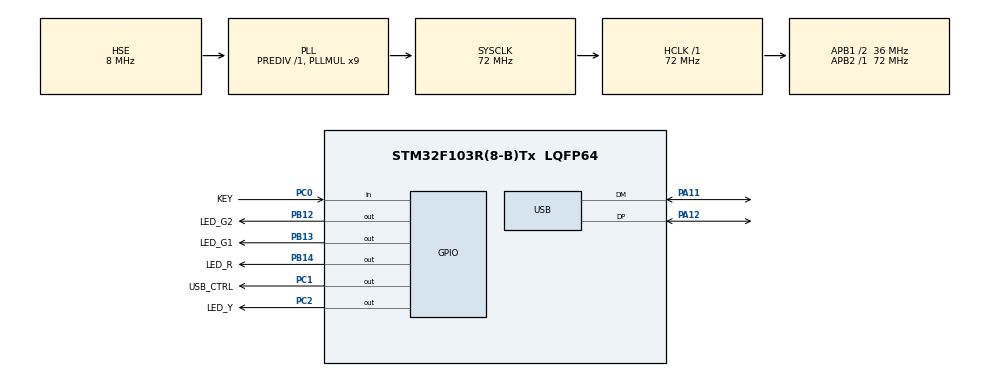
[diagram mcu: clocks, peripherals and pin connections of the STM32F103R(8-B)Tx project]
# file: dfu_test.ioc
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Mcu.Family=STM32F1
Mcu.Name=STM32F103R(8-B)Tx
Mcu.Package=LQFP64
NVIC.PriorityGroup=NVIC_PRIORITYGROUP_4
NVIC.USB_HP_CAN1_TX_IRQn=true\:0\:0\:false\:false\:true\:true\:true
NVIC.USB_LP_CAN1_RX0_IRQn=true\:0\:0\:false\:false\:true\:false\:true
PA11.Mode=Device
PA11.Signal=USB_DM
PA12.Mode=Device
PA12.Signal=USB_DP
PA13.Mode=Serial_Wire
PA13.Signal=SYS_JTMS-SWDIO
PA14.Mode=Serial_Wire
PA14.Signal=SYS_JTCK-SWCLK
PB12.GPIO_Label=LED_G2
PB12.GPIO_Speed=GPIO_SPEED_FREQ_HIGH
PB12.PinState=GPIO_PIN_SET
PB12.Signal=GPIO_Output
PB13.GPIO_Label=LED_G1
PB13.GPIO_Speed=GPIO_SPEED_FREQ_HIGH
PB13.PinState=GPIO_PIN_SET
PB13.Signal=GPIO_Output
PB14.GPIO_Label=LED_R
PB14.GPIO_Speed=GPIO_SPEED_FREQ_HIGH
PB14.PinState=GPIO_PIN_SET
PB14.Signal=GPIO_Output
PC0.GPIO_Label=KEY
PC0.GPIO_PuPd=GPIO_PULLUP
PC0.Signal=GPIO_Input
PC1.GPIO_Label=USB_CTRL
PC1.GPIO_Speed=GPIO_SPEED_FREQ_HIGH
PC1.PinState=GPIO_PIN_SET
PC1.Signal=GPIO_Output
PC2.GPIO_Label=LED_Y
PC2.GPIO_Speed=GPIO_SPEED_FREQ_HIGH
PC2.PinState=GPIO_PIN_RESET
PC2.Signal=GPIO_Output
PD0-OSC_IN.Mode=HSE-External-Oscillator
PD0-OSC_IN.Signal=RCC_OSC_IN
PD1-OSC_OUT.Mode=HSE-External-Oscillator
PD1-OSC_OUT.Signal=RCC_OSC_OUT
ProjectManager.HeapSize=0x200
ProjectManager.StackSize=0x800
ProjectManager.TargetToolchain=STM32CubeIDE
RCC.AHBFreq_Value=72000000
RCC.APB1CLKDivider=RCC_HCLK_DIV2
RCC.APB1Freq_Value=36000000
RCC.APB1TimFreq_Value=72000000
RCC.APB2Freq_Value=72000000
RCC.APB2TimFreq_Value=72000000
RCC.HCLKFreq_Value=72000000
RCC.HSICalibrationValue=8
RCC.PLLMUL=RCC_PLL_MUL9
RCC.PLLSourceVirtual=RCC_PLLSOURCE_HSE
RCC.SYSCLKFreq_VALUE=72000000
RCC.SYSCLKSource=RCC_SYSCLKSOURCE_PLLCLK
RCC.USBFreq_Value=48000000
RCC.USBPrescaler=RCC_USBCLKSOURCE_PLL_DIV1_5
USB_DEVICE.CLASS_NAME_FS=DFU
USB_DEVICE.USBD_DFU_APP_DEFAULT_ADD=0x08008000
USB_DEVICE.VirtualMode=Dfu
USB_DEVICE.VirtualModeFS=Dfu_FS
VP_USB_DEVICE_VS_USB_DEVICE_DFU_FS.Mode=DFU_FS
board=custom

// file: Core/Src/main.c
/* USER CODE BEGIN Header */
/**
  ******************************************************************************
  * @file           : main.c
  * @brief          : Main program body
  ******************************************************************************
  * @attention
  *
  * <h2><center>&copy; Copyright (c) 2022 STMicroelectronics.
  * All rights reserved.</center></h2>
  *
  * This software component is licensed by ST under BSD 3-Clause license,
  * the "License"; You may not use this file except in compliance with the
  * License. You may obtain a copy of the License at:
  *                        opensource.org/licenses/BSD-3-Clause
  *
  ******************************************************************************
  */
/* USER CODE END Header */
#include "main.h"
#include "usb_device.h"

/* USER CODE BEGIN Includes */
#include "usbd_dfu_if.h"
/* USER CODE END Includes */

void SystemClock_Config(void);
static void MX_GPIO_Init(void);

/* USER CODE BEGIN 0 */

typedef void (*pFunction)(void);

pFunction JumpToApplication;
uint32_t JumpAddress;

/* USER CODE END 0 */

int main(void)
{

  /* MCU Configuration--------------------------------------------------------*/

  /* Reset of all peripherals, Initializes the Flash interface and the Systick. */
  HAL_Init();

  /* Configure the system clock */
  SystemClock_Config();

  /* USER CODE BEGIN SysInit */
#if 0
  /* USER CODE END SysInit */

  /* Initialize all configured peripherals */
  MX_GPIO_Init();
  MX_USB_DEVICE_Init();
  /* USER CODE BEGIN 2 */
#endif
  MX_GPIO_Init();

  HAL_Delay(10);

  if (HAL_GPIO_ReadPin(KEY_GPIO_Port, KEY_Pin) == GPIO_PIN_SET)
  {
    if (((*(__IO uint32_t *)USBD_DFU_APP_DEFAULT_ADD) & 0x2FFE0000) == 0x20000000)
    {
      JumpAddress = *(__IO uint32_t *)(USBD_DFU_APP_DEFAULT_ADD + 4);
      JumpToApplication = (pFunction)JumpAddress;
      __set_MSP(*(__IO uint32_t *)USBD_DFU_APP_DEFAULT_ADD);
      JumpToApplication();
    }
  }

  HAL_GPIO_WritePin(USB_CTRL_GPIO_Port, USB_CTRL_Pin, GPIO_PIN_RESET);
  HAL_Delay(100);
  MX_USB_DEVICE_Init();

  /* USER CODE END 2 */

  /* Infinite loop */
  /* USER CODE BEGIN WHILE */
  while (1)
  {
    if(GPIO_PIN_RESET == HAL_GPIO_ReadPin(KEY_GPIO_Port, KEY_Pin))
    {
        HAL_GPIO_WritePin(LED_G2_GPIO_Port, LED_G2_Pin, GPIO_PIN_RESET);
    }
    else
    {
        HAL_GPIO_WritePin(LED_G2_GPIO_Port, LED_G2_Pin, GPIO_PIN_SET);
    }

    HAL_GPIO_WritePin(LED_Y_GPIO_Port, LED_Y_Pin, GPIO_PIN_SET);
    HAL_Delay(500);
    HAL_GPIO_WritePin(LED_Y_GPIO_Port, LED_Y_Pin, GPIO_PIN_RESET);
    HAL_Delay(500);
    /* USER CODE END WHILE */

  }
}

void SystemClock_Config(void)
{
  RCC_OscInitTypeDef RCC_OscInitStruct = {0};
  RCC_ClkInitTypeDef RCC_ClkInitStruct = {0};
  RCC_PeriphCLKInitTypeDef PeriphClkInit = {0};

  /** Initializes the RCC Oscillators according to the specified parameters
  * in the RCC_OscInitTypeDef structure.
  */
  RCC_OscInitStruct.OscillatorType = RCC_OSCILLATORTYPE_HSE;
  RCC_OscInitStruct.HSEState = RCC_HSE_ON;
  RCC_OscInitStruct.HSEPredivValue = RCC_HSE_PREDIV_DIV1;
  RCC_OscInitStruct.HSIState = RCC_HSI_ON;
  RCC_OscInitStruct.PLL.PLLState = RCC_PLL_ON;
  RCC_OscInitStruct.PLL.PLLSource = RCC_PLLSOURCE_HSE;
  RCC_OscInitStruct.PLL.PLLMUL = RCC_PLL_MUL9;
  if (HAL_RCC_OscConfig(&RCC_OscInitStruct) != HAL_OK)
  {
    Error_Handler();
  }
  /** Initializes the CPU, AHB and APB buses clocks
  */
  RCC_ClkInitStruct.ClockType = RCC_CLOCKTYPE_HCLK|RCC_CLOCKTYPE_SYSCLK
                              |RCC_CLOCKTYPE_PCLK1|RCC_CLOCKTYPE_PCLK2;
  RCC_ClkInitStruct.SYSCLKSource = RCC_SYSCLKSOURCE_PLLCLK;
  RCC_ClkInitStruct.AHBCLKDivider = RCC_SYSCLK_DIV1;
  RCC_ClkInitStruct.APB1CLKDivider = RCC_HCLK_DIV2;
  RCC_ClkInitStruct.APB2CLKDivider = RCC_HCLK_DIV1;

  if (HAL_RCC_ClockConfig(&RCC_ClkInitStruct, FLASH_LATENCY_2) != HAL_OK)
  {
    Error_Handler();
  }
  PeriphClkInit.PeriphClockSelection = RCC_PERIPHCLK_USB;
  PeriphClkInit.UsbClockSelection = RCC_USBCLKSOURCE_PLL_DIV1_5;
  if (HAL_RCCEx_PeriphCLKConfig(&PeriphClkInit) != HAL_OK)
  {
    Error_Handler();
  }
}

static void MX_GPIO_Init(void)
{
  GPIO_InitTypeDef GPIO_InitStruct = {0};

  /* GPIO Ports Clock Enable */
  __HAL_RCC_GPIOD_CLK_ENABLE();
  __HAL_RCC_GPIOC_CLK_ENABLE();
  __HAL_RCC_GPIOB_CLK_ENABLE();
  __HAL_RCC_GPIOA_CLK_ENABLE();

  /*Configure GPIO pin Output Level */
  HAL_GPIO_WritePin(USB_CTRL_GPIO_Port, USB_CTRL_Pin, GPIO_PIN_SET);

  /*Configure GPIO pin Output Level */
  HAL_GPIO_WritePin(LED_Y_GPIO_Port, LED_Y_Pin, GPIO_PIN_RESET);

  /*Configure GPIO pin Output Level */
  HAL_GPIO_WritePin(GPIOB, LED_G2_Pin|LED_G1_Pin|LED_R_Pin, GPIO_PIN_SET);

  /*Configure GPIO pin : KEY_Pin */
  GPIO_InitStruct.Pin = KEY_Pin;
  GPIO_InitStruct.Mode = GPIO_MODE_INPUT;
  GPIO_InitStruct.Pull = GPIO_PULLUP;
  HAL_GPIO_Init(KEY_GPIO_Port, &GPIO_InitStruct);

  /*Configure GPIO pins : USB_CTRL_Pin LED_Y_Pin */
  GPIO_InitStruct.Pin = USB_CTRL_Pin|LED_Y_Pin;
  GPIO_InitStruct.Mode = GPIO_MODE_OUTPUT_PP;
  GPIO_InitStruct.Pull = GPIO_NOPULL;
  GPIO_InitStruct.Speed = GPIO_SPEED_FREQ_HIGH;
  HAL_GPIO_Init(GPIOC, &GPIO_InitStruct);

  /*Configure GPIO pins : LED_G2_Pin LED_G1_Pin LED_R_Pin */
  GPIO_InitStruct.Pin = LED_G2_Pin|LED_G1_Pin|LED_R_Pin;
  GPIO_InitStruct.Mode = GPIO_MODE_OUTPUT_PP;
  GPIO_InitStruct.Pull = GPIO_NOPULL;
  GPIO_InitStruct.Speed = GPIO_SPEED_FREQ_HIGH;
  HAL_GPIO_Init(GPIOB, &GPIO_InitStruct);

}

void Error_Handler(void)
{
  __disable_irq();
  while (1)
  {
  }
}

/************************ (C) COPYRIGHT STMicroelectronics *****END OF FILE****/
